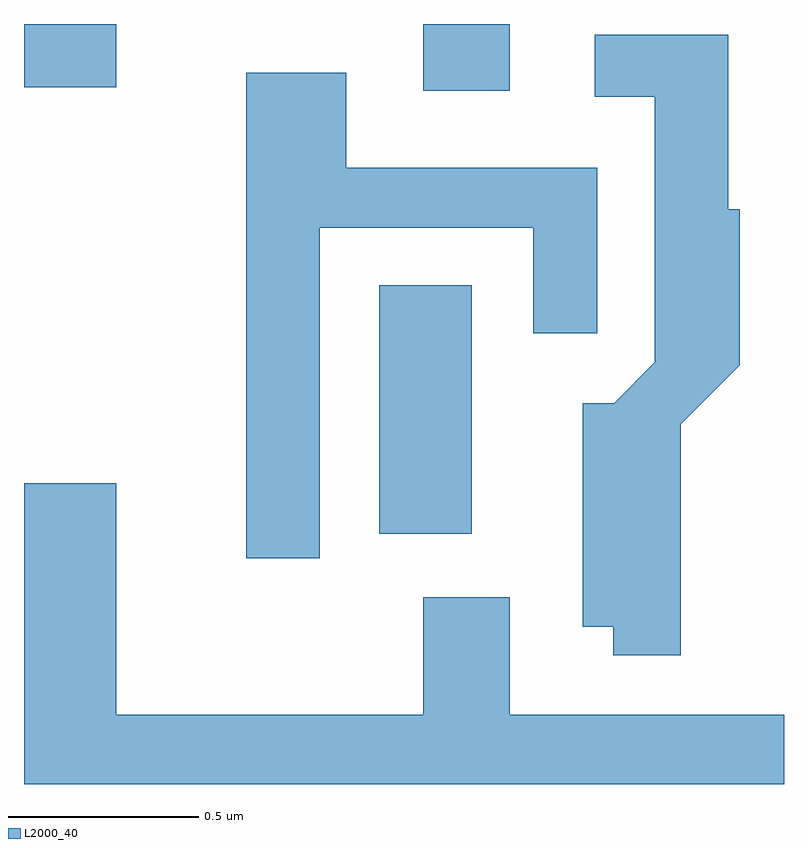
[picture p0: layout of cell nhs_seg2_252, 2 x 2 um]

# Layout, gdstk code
import gdstk
lib = gdstk.Library(unit=1e-6, precision=1e-09)
def R(c, l, rs):  # rectangles x0, y0, x1, y1
    for r in rs: c.add(gdstk.rectangle(r[:2], r[2:], *l))
def P(c, l, *ps):  # polygons
    for p in ps: c.add(gdstk.Polygon(p, *l))
L2000_40 = (2000, 40)

nhs_seg2_252 = lib.new_cell('nhs_seg2_252')
R(nhs_seg2_252, L2000_40, [(187.546,1093.461,187.789,1094.114), (187.661,1094.626,187.889,1094.802), (186.611,1094.636,186.854,1094.802)])
P(nhs_seg2_252, L2000_40, [(188.339,1093.749),(188.494,1093.904),(188.494,1094.314),(188.464,1094.314),(188.464,1094.774),(188.113,1094.774),(188.113,1094.611),(188.271,1094.611),(188.271,1093.912),(188.164,1093.804),(188.081,1093.804),(188.081,1093.216),(188.161,1093.216),(188.161,1093.141),(188.339,1093.141)],
  [(187.389,1094.266),(187.951,1094.266),(187.951,1093.988),(188.119,1093.988),(188.119,1094.424),(187.459,1094.424),(187.459,1094.674),(187.196,1094.674),(187.196,1093.396),(187.389,1093.396)],
  [(188.611,1092.984),(187.889,1092.984),(187.889,1093.294),(187.661,1093.294),(187.661,1092.984),(186.854,1092.984),(186.854,1093.594),(186.611,1093.594),(186.611,1092.802),(188.611,1092.802)])

lib.write_gds('nhs_seg2_252.gds')
